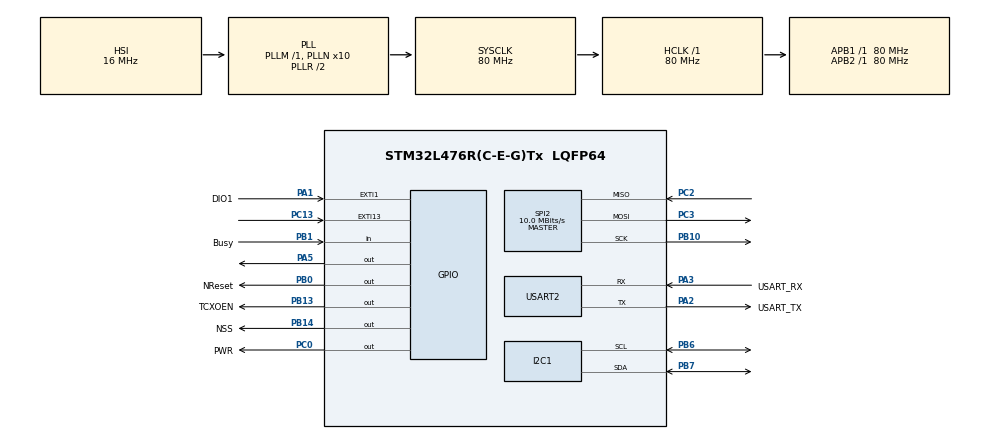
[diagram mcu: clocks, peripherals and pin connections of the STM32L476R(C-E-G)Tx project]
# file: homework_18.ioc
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Dma.Request0=USART2_RX
Dma.USART2_RX.0.Direction=DMA_PERIPH_TO_MEMORY
Dma.USART2_RX.0.Instance=DMA1_Channel6
Dma.USART2_RX.0.MemDataAlignment=DMA_MDATAALIGN_BYTE
Dma.USART2_RX.0.MemInc=DMA_MINC_ENABLE
Dma.USART2_RX.0.Mode=DMA_NORMAL
Dma.USART2_RX.0.PeriphDataAlignment=DMA_PDATAALIGN_BYTE
Dma.USART2_RX.0.PeriphInc=DMA_PINC_DISABLE
Dma.USART2_RX.0.Priority=DMA_PRIORITY_LOW
I2C1.Timing=0x10D19CE4
Mcu.Family=STM32L4
Mcu.Name=STM32L476R(C-E-G)Tx
Mcu.Package=LQFP64
NUCLEO-L476RG.BUTTON=1
NUCLEO-L476RG.LD2=true
NVIC.DMA1_Channel6_IRQn=true\:0\:0\:false\:false\:true\:false\:true\:true
NVIC.EXTI15_10_IRQn=true\:0\:0\:false\:false\:true\:false\:true\:true
NVIC.EXTI1_IRQn=true\:0\:0\:false\:false\:true\:true\:true\:true
NVIC.PriorityGroup=NVIC_PRIORITYGROUP_4
NVIC.TIM6_DAC_IRQn=true\:0\:0\:false\:false\:true\:true\:true\:true
NVIC.USART2_IRQn=true\:0\:0\:false\:false\:true\:true\:true\:true
PA1.GPIO_Label=DIO1
PA1.GPIO_PuPd=GPIO_PULLDOWN
PA1.Signal=GPXTI1
PA13\ (JTMS-SWDIO).GPIO_Label=TMS
PA13\ (JTMS-SWDIO).Signal=SYS_JTMS-SWDIO
PA14\ (JTCK-SWCLK).GPIO_Label=TCK
PA14\ (JTCK-SWCLK).Signal=SYS_JTCK-SWCLK
PA2.GPIO_Label=USART_TX
PA2.GPIO_Mode=GPIO_MODE_AF_PP
PA2.GPIO_PuPd=GPIO_NOPULL
PA2.GPIO_Speed=GPIO_SPEED_FREQ_VERY_HIGH
PA2.Mode=Asynchronous
PA2.Signal=USART2_TX
PA3.GPIO_Label=USART_RX
PA3.GPIO_Mode=GPIO_MODE_AF_PP
PA3.GPIO_PuPd=GPIO_NOPULL
PA3.GPIO_Speed=GPIO_SPEED_FREQ_VERY_HIGH
PA3.Mode=Asynchronous
PA3.Signal=USART2_RX
PA5.Signal=GPIO_Output
PB0.GPIO_Label=NReset
PB0.PinState=GPIO_PIN_SET
PB0.Signal=GPIO_Output
PB1.GPIO_Label=Busy
PB1.Signal=GPIO_Input
PB10.Mode=Full_Duplex_Master
PB10.Signal=SPI2_SCK
PB13.GPIO_Label=TCXOEN
PB13.Signal=GPIO_Output
PB14.GPIO_Label=NSS
PB14.PinState=GPIO_PIN_SET
PB14.Signal=GPIO_Output
PB3\ (JTDO-TRACESWO).GPIO_Label=SWO
PB3\ (JTDO-TRACESWO).Signal=SYS_JTDO-SWO
PB6.GPIO_Pu=GPIO_PULLUP
PB6.Mode=I2C
PB6.Signal=I2C1_SCL
PB7.GPIO_Pu=GPIO_PULLUP
PB7.Mode=I2C
PB7.Signal=I2C1_SDA
PC0.GPIO_Label=PWR
PC0.PinState=GPIO_PIN_SET
PC0.Signal=GPIO_Output
PC13.Signal=GPXTI13
PC14-OSC32_IN\ (PC14).Signal=RCC_OSC32_IN
PC15-OSC32_OUT\ (PC15).Signal=RCC_OSC32_OUT
PC2.Mode=Full_Duplex_Master
PC2.Signal=SPI2_MISO
PC3.Mode=Full_Duplex_Master
PC3.Signal=SPI2_MOSI
PH0-OSC_IN\ (PH0).Signal=RCC_OSC_IN
PH1-OSC_OUT\ (PH1).Signal=RCC_OSC_OUT
ProjectManager.HeapSize=0x200
ProjectManager.StackSize=0x400
ProjectManager.TargetToolchain=CMake
RCC.ADCFreq_Value=64000000
RCC.AHBFreq_Value=80000000
RCC.APB1Freq_Value=80000000
RCC.APB1TimFreq_Value=80000000
RCC.APB2Freq_Value=80000000
RCC.APB2TimFreq_Value=80000000
RCC.CortexFreq_Value=80000000
RCC.HCLKFreq_Value=80000000
RCC.HSE_VALUE=8000000
RCC.HSI_VALUE=16000000
RCC.LSE_VALUE=32768
RCC.MSI_VALUE=4000000
RCC.PLLN=10
RCC.PLLSourceVirtual=RCC_PLLSOURCE_HSI
RCC.PREFETCH_ENABLE=1
RCC.SYSCLKFreq_VALUE=80000000
RCC.SYSCLKSource=RCC_SYSCLKSOURCE_PLLCLK
RCC.USBFreq_Value=64000000
RCC.VCOOutputFreq_Value=160000000
SPI2.BaudRatePrescaler=SPI_BAUDRATEPRESCALER_8
SPI2.CalculateBaudRate=10.0 MBits/s
SPI2.DataSize=SPI_DATASIZE_8BIT
SPI2.Direction=SPI_DIRECTION_2LINES
SPI2.Mode=SPI_MODE_MASTER
SPI2.NSSPMode=SPI_NSS_PULSE_DISABLE
SPI2.VirtualType=VM_MASTER
TIM6.Period=4999
TIM6.Prescaler=7999
USART2.VirtualMode-Asynchronous=VM_ASYNC
VP_NUCLEO-L476RG_VS_BSP_COMMON.Mode=COMMON
VP_TIM6_VS_ClockSourceINT.Mode=Enable_Timer
board=NUCLEO-L476RG

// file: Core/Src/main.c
/* USER CODE BEGIN Header */
/**
  ******************************************************************************
  * @file           : main.c
  * @brief          : Main program body
  ******************************************************************************
  * @attention
  *
  * Copyright (c) 2026 STMicroelectronics.
  * All rights reserved.
  *
  * This software is licensed under terms that can be found in the LICENSE file
  * in the root directory of this software component.
  * If no LICENSE file comes with this software, it is provided AS-IS.
  *
  ******************************************************************************
  */
/* USER CODE END Header */
#include "main.h"

/* USER CODE BEGIN Includes */
#include "As5600Bridge.h"
#include "Measure.hpp"
#include "Sx1280Bridge.h"
#include "UartBridge.h"
#include "cmsis_gcc.h"
#include "stm32l476xx.h"
#include "stm32l4xx_hal_tim.h"
#include "stm32l4xx_hal_uart.h"

#include <stdbool.h>
/* USER CODE END Includes */

I2C_HandleTypeDef hi2c1;

SPI_HandleTypeDef hspi2;

TIM_HandleTypeDef htim6;

UART_HandleTypeDef huart2;
DMA_HandleTypeDef hdma_usart2_rx;

/* USER CODE BEGIN PV */

volatile bool DIO1_callback_triggered = false;

volatile bool TIM6_callback_triggered = false;

/* USER CODE END PV */

void SystemClock_Config(void);
static void MX_GPIO_Init(void);
static void MX_DMA_Init(void);
static void MX_SPI2_Init(void);
static void MX_I2C1_Init(void);
static void MX_TIM6_Init(void);
static void MX_USART2_UART_Init(void);

int main(void)
{

  /* MCU Configuration--------------------------------------------------------*/

  /* Reset of all peripherals, Initializes the Flash interface and the Systick. */
  HAL_Init();

  /* Configure the system clock */
  SystemClock_Config();

  /* Initialize all configured peripherals */
  MX_GPIO_Init();
  MX_DMA_Init();
  MX_SPI2_Init();
  MX_I2C1_Init();
  MX_TIM6_Init();
  MX_USART2_UART_Init();
  /* USER CODE BEGIN 2 */
  Sx1280_Init(&hspi2, NSS_GPIO_Port, Busy_GPIO_Port, NReset_GPIO_Port, NSS_Pin, Busy_Pin, NReset_Pin);
  As5600_Init(&hi2c1);
  Uart_Init(&huart2);
  Uart_StartRx();

  /* USER CODE END 2 */

  /* Initialize leds */
  BSP_LED_Init(LED_GREEN);

  /* Initialize USER push-button, will be used to trigger an interrupt each time it's pressed.*/
  BSP_PB_Init(BUTTON_USER, BUTTON_MODE_EXTI);

  /* Infinite loop */
  /* USER CODE BEGIN WHILE */
  HAL_TIM_Base_Start_IT(&htim6);

  while (1)
  {
    if (DIO1_callback_triggered) {
      Sx1280_OnDio1Irq();

      DIO1_callback_triggered = false;
    }

    if (TIM6_callback_triggered) {
      struct Measure m = {0};
      As5600_Poll(&m);
      Sx1280_Send(&m);
      Uart_SendMeasure(&m);

      TIM6_callback_triggered = false;
    }

    Uart_PollCommand();

    __WFI();

    /* USER CODE END WHILE */

  }
}

void SystemClock_Config(void)
{
  RCC_OscInitTypeDef RCC_OscInitStruct = {0};
  RCC_ClkInitTypeDef RCC_ClkInitStruct = {0};

  /** Configure the main internal regulator output voltage
  */
  if (HAL_PWREx_ControlVoltageScaling(PWR_REGULATOR_VOLTAGE_SCALE1) != HAL_OK)
  {
    Error_Handler();
  }

  /** Initializes the RCC Oscillators according to the specified parameters
  * in the RCC_OscInitTypeDef structure.
  */
  RCC_OscInitStruct.OscillatorType = RCC_OSCILLATORTYPE_HSI;
  RCC_OscInitStruct.HSIState = RCC_HSI_ON;
  RCC_OscInitStruct.HSICalibrationValue = RCC_HSICALIBRATION_DEFAULT;
  RCC_OscInitStruct.PLL.PLLState = RCC_PLL_ON;
  RCC_OscInitStruct.PLL.PLLSource = RCC_PLLSOURCE_HSI;
  RCC_OscInitStruct.PLL.PLLM = 1;
  RCC_OscInitStruct.PLL.PLLN = 10;
  RCC_OscInitStruct.PLL.PLLP = RCC_PLLP_DIV7;
  RCC_OscInitStruct.PLL.PLLQ = RCC_PLLQ_DIV2;
  RCC_OscInitStruct.PLL.PLLR = RCC_PLLR_DIV2;
  if (HAL_RCC_OscConfig(&RCC_OscInitStruct) != HAL_OK)
  {
    Error_Handler();
  }

  /** Initializes the CPU, AHB and APB buses clocks
  */
  RCC_ClkInitStruct.ClockType = RCC_CLOCKTYPE_HCLK|RCC_CLOCKTYPE_SYSCLK
                              |RCC_CLOCKTYPE_PCLK1|RCC_CLOCKTYPE_PCLK2;
  RCC_ClkInitStruct.SYSCLKSource = RCC_SYSCLKSOURCE_PLLCLK;
  RCC_ClkInitStruct.AHBCLKDivider = RCC_SYSCLK_DIV1;
  RCC_ClkInitStruct.APB1CLKDivider = RCC_HCLK_DIV1;
  RCC_ClkInitStruct.APB2CLKDivider = RCC_HCLK_DIV1;

  if (HAL_RCC_ClockConfig(&RCC_ClkInitStruct, FLASH_LATENCY_4) != HAL_OK)
  {
    Error_Handler();
  }
}

static void MX_I2C1_Init(void)
{

  hi2c1.Instance = I2C1;
  hi2c1.Init.Timing = 0x10D19CE4;
  hi2c1.Init.OwnAddress1 = 0;
  hi2c1.Init.AddressingMode = I2C_ADDRESSINGMODE_7BIT;
  hi2c1.Init.DualAddressMode = I2C_DUALADDRESS_DISABLE;
  hi2c1.Init.OwnAddress2 = 0;
  hi2c1.Init.OwnAddress2Masks = I2C_OA2_NOMASK;
  hi2c1.Init.GeneralCallMode = I2C_GENERALCALL_DISABLE;
  hi2c1.Init.NoStretchMode = I2C_NOSTRETCH_DISABLE;
  if (HAL_I2C_Init(&hi2c1) != HAL_OK)
  {
    Error_Handler();
  }

  /** Configure Analogue filter
  */
  if (HAL_I2CEx_ConfigAnalogFilter(&hi2c1, I2C_ANALOGFILTER_ENABLE) != HAL_OK)
  {
    Error_Handler();
  }

  /** Configure Digital filter
  */
  if (HAL_I2CEx_ConfigDigitalFilter(&hi2c1, 0) != HAL_OK)
  {
    Error_Handler();
  }

}

static void MX_SPI2_Init(void)
{

  /* SPI2 parameter configuration*/
  hspi2.Instance = SPI2;
  hspi2.Init.Mode = SPI_MODE_MASTER;
  hspi2.Init.Direction = SPI_DIRECTION_2LINES;
  hspi2.Init.DataSize = SPI_DATASIZE_8BIT;
  hspi2.Init.CLKPolarity = SPI_POLARITY_LOW;
  hspi2.Init.CLKPhase = SPI_PHASE_1EDGE;
  hspi2.Init.NSS = SPI_NSS_SOFT;
  hspi2.Init.BaudRatePrescaler = SPI_BAUDRATEPRESCALER_8;
  hspi2.Init.FirstBit = SPI_FIRSTBIT_MSB;
  hspi2.Init.TIMode = SPI_TIMODE_DISABLE;
  hspi2.Init.CRCCalculation = SPI_CRCCALCULATION_DISABLE;
  hspi2.Init.CRCPolynomial = 7;
  hspi2.Init.CRCLength = SPI_CRC_LENGTH_DATASIZE;
  hspi2.Init.NSSPMode = SPI_NSS_PULSE_DISABLE;
  if (HAL_SPI_Init(&hspi2) != HAL_OK)
  {
    Error_Handler();
  }

}

static void MX_TIM6_Init(void)
{

  TIM_MasterConfigTypeDef sMasterConfig = {0};

  htim6.Instance = TIM6;
  htim6.Init.Prescaler = 7999;
  htim6.Init.CounterMode = TIM_COUNTERMODE_UP;
  htim6.Init.Period = 4999;
  htim6.Init.AutoReloadPreload = TIM_AUTORELOAD_PRELOAD_DISABLE;
  if (HAL_TIM_Base_Init(&htim6) != HAL_OK)
  {
    Error_Handler();
  }
  sMasterConfig.MasterOutputTrigger = TIM_TRGO_RESET;
  sMasterConfig.MasterSlaveMode = TIM_MASTERSLAVEMODE_DISABLE;
  if (HAL_TIMEx_MasterConfigSynchronization(&htim6, &sMasterConfig) != HAL_OK)
  {
    Error_Handler();
  }
  /* USER CODE BEGIN TIM6_Init 2 */

  HAL_NVIC_SetPriority(TIM6_DAC_IRQn, 0, 0);
  HAL_NVIC_EnableIRQ(TIM6_DAC_IRQn);

  /* USER CODE END TIM6_Init 2 */

}

static void MX_USART2_UART_Init(void)
{

  huart2.Instance = USART2;
  huart2.Init.BaudRate = 115200;
  huart2.Init.WordLength = UART_WORDLENGTH_8B;
  huart2.Init.StopBits = UART_STOPBITS_1;
  huart2.Init.Parity = UART_PARITY_NONE;
  huart2.Init.Mode = UART_MODE_TX_RX;
  huart2.Init.HwFlowCtl = UART_HWCONTROL_NONE;
  huart2.Init.OverSampling = UART_OVERSAMPLING_16;
  huart2.Init.OneBitSampling = UART_ONE_BIT_SAMPLE_DISABLE;
  huart2.AdvancedInit.AdvFeatureInit = UART_ADVFEATURE_NO_INIT;
  if (HAL_UART_Init(&huart2) != HAL_OK)
  {
    Error_Handler();
  }

}

static void MX_DMA_Init(void)
{

  /* DMA controller clock enable */
  __HAL_RCC_DMA1_CLK_ENABLE();

  /* DMA interrupt init */
  /* DMA1_Channel6_IRQn interrupt configuration */
  HAL_NVIC_SetPriority(DMA1_Channel6_IRQn, 0, 0);
  HAL_NVIC_EnableIRQ(DMA1_Channel6_IRQn);

}

static void MX_GPIO_Init(void)
{
  GPIO_InitTypeDef GPIO_InitStruct = {0};

  /* GPIO Ports Clock Enable */
  __HAL_RCC_GPIOC_CLK_ENABLE();
  __HAL_RCC_GPIOH_CLK_ENABLE();
  __HAL_RCC_GPIOA_CLK_ENABLE();
  __HAL_RCC_GPIOB_CLK_ENABLE();

  /*Configure GPIO pin Output Level */
  HAL_GPIO_WritePin(PWR_GPIO_Port, PWR_Pin, GPIO_PIN_SET);

  /*Configure GPIO pin Output Level */
  HAL_GPIO_WritePin(GPIOB, NReset_Pin|NSS_Pin, GPIO_PIN_SET);

  /*Configure GPIO pin Output Level */
  HAL_GPIO_WritePin(TCXOEN_GPIO_Port, TCXOEN_Pin, GPIO_PIN_RESET);

  /*Configure GPIO pin : PWR_Pin */
  GPIO_InitStruct.Pin = PWR_Pin;
  GPIO_InitStruct.Mode = GPIO_MODE_OUTPUT_PP;
  GPIO_InitStruct.Pull = GPIO_NOPULL;
  GPIO_InitStruct.Speed = GPIO_SPEED_FREQ_LOW;
  HAL_GPIO_Init(PWR_GPIO_Port, &GPIO_InitStruct);

  /*Configure GPIO pin : DIO1_Pin */
  GPIO_InitStruct.Pin = DIO1_Pin;
  GPIO_InitStruct.Mode = GPIO_MODE_IT_RISING;
  GPIO_InitStruct.Pull = GPIO_PULLDOWN;
  HAL_GPIO_Init(DIO1_GPIO_Port, &GPIO_InitStruct);

  /*Configure GPIO pins : NReset_Pin TCXOEN_Pin NSS_Pin */
  GPIO_InitStruct.Pin = NReset_Pin|TCXOEN_Pin|NSS_Pin;
  GPIO_InitStruct.Mode = GPIO_MODE_OUTPUT_PP;
  GPIO_InitStruct.Pull = GPIO_NOPULL;
  GPIO_InitStruct.Speed = GPIO_SPEED_FREQ_LOW;
  HAL_GPIO_Init(GPIOB, &GPIO_InitStruct);

  /*Configure GPIO pin : Busy_Pin */
  GPIO_InitStruct.Pin = Busy_Pin;
  GPIO_InitStruct.Mode = GPIO_MODE_INPUT;
  GPIO_InitStruct.Pull = GPIO_NOPULL;
  HAL_GPIO_Init(Busy_GPIO_Port, &GPIO_InitStruct);

  /* EXTI interrupt init*/
  HAL_NVIC_SetPriority(EXTI1_IRQn, 0, 0);
  HAL_NVIC_EnableIRQ(EXTI1_IRQn);

}

/* USER CODE BEGIN 4 */
void HAL_TIM_PeriodElapsedCallback(TIM_HandleTypeDef* htim){
  if (htim->Instance == TIM6) {
    TIM6_callback_triggered = true;
  }
}

void HAL_GPIO_EXTI_Callback(uint16_t GPIO_Pin) {
  if(GPIO_Pin == DIO1_Pin){
    DIO1_callback_triggered = true;
  }
}
/* USER CODE END 4 */

void Error_Handler(void)
{
  __disable_irq();
  while (1)
  {
  }
}
